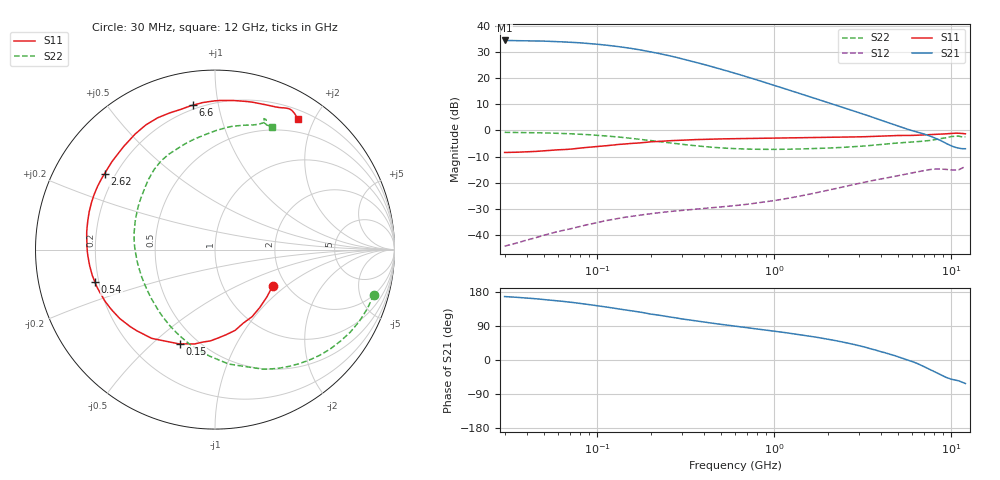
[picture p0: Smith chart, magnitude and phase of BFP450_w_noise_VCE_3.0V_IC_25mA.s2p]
! (c) 2015  Infineon Technologies AG, Munich
! Infineon Technologies  Discrete & RF Semiconductors
! BFP450
! VCE =  3.0 V,  IC =  25 mA
! Common Emitter S-Parameters:  Nov 2015
# GHz  S  MA  R  50
!  f  S11  S21  S12  S22
! GHz  MAG  ANG  MAG  ANG  MAG  ANG  MAG  ANG
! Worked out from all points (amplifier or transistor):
!   239 points, 30 MHz to 12 GHz, reference 50 ohm
!   highest |S21| = 34.3 dB at 30 MHz (marker M1)
!   |S21| within 3 dB of that: start of sweep to 154.3 MHz
!   unconditionally stable (mu >= 1): 1.536 GHz to end of sweep
!   at 300 MHz: K = 0.36, MSG = 28.9 dB, |S12| = -30.5 dB
!   at 1.88 GHz: K = 1.06, MAG = 15.7 dB, |S12| = -23.2 dB
!   at 12 GHz: K = 1.11, MAG = 1.4 dB, |S12| = -13.8 dB
!   lowest NFmin = 1.19 dB at 450 MHz
!   S11 on the Smith chart (normalised r, x): 30 MHz: 1.70, -0.81; 150 MHz: 0.40, -0.62; 540 MHz: 0.18, -0.13; 2.62 GHz: 0.16, +0.30; 6.6 GHz: 0.18, +0.84; 12 GHz: 0.31, +1.77
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0.03  0.3799 -32.3  52.07 167.4  0.0062 76.5  0.9202 -15.9
0.04  0.3911 -42.3  51.37 163.5  0.0081 74.3  0.9103 -21.2
0.05  0.4081 -52.4  50.59 159.6  0.01 71.2  0.8982 -26.3
0.065  0.4319 -65.1  48.77 154.4  0.0125 67.6  0.8736 -33.7
0.085  0.4699 -79.2  46.18 147.8  0.0155 63.3  0.8376 -43.0
0.11  0.5092 -92.9  42.73 140.5  0.0188 58.0  0.7897 -53.6
0.15  0.5616 -110.5  37.41 130.7  0.0226 51.7  0.7174 -68.2
0.175  0.5796 -118.3  34.35 126.4  0.0242 48.8  0.6742 -75.2
0.2  0.6075 -125.5  31.54 121.2  0.0259 46.2  0.6425 -83.1
0.24  0.6278 -133.9  27.88 115.8  0.0277 43.3  0.5955 -92.6
0.3  0.6548 -144.0  23.35 108.5  0.0299 40.3  0.5451 -105.2
0.36  0.669 -151.1  20 103.3  0.0315 38.9  0.5102 -114.9
0.45  0.6836 -159.1  16.27 96.8  0.0336 38.1  0.4772 -126.7
0.54  0.6929 -164.9  13.72 92.3  0.0355 38.2  0.4576 -135.6
0.6  0.6988 -168.2  12.28 89.2  0.0368 38.4  0.4497 -141.0
0.8  0.7086 -176.5  9.14 81.8  0.0412 39.8  0.4373 -154.0
1  0.7147 177.3  7.212 76.0  0.0459 41.1  0.4357 -163.5
1.64  0.7323 162.8  4.24 61.9  0.0625 42.1  0.4501 176.2
2.62  0.747 145.5  2.534 44.2  0.0881 36.9  0.4823 154.7
4.5  0.7944 119.0  1.364 15.1  0.1278 20.5  0.5609 127.1
6.6  0.8137 98.8  0.906 -11.7  0.1655 1.6  0.6167 104.1
12  0.8629 57.7  0.448 -62.0  0.2048 -40.1  0.7546 65.1
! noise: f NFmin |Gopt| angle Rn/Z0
0.45  1.19  0.39  -177  0.07
0.9  1.26  0.44  -174  0.06
1.9  1.38  0.51  -159  0.08
2.4  1.51  0.54  -149  0.1
